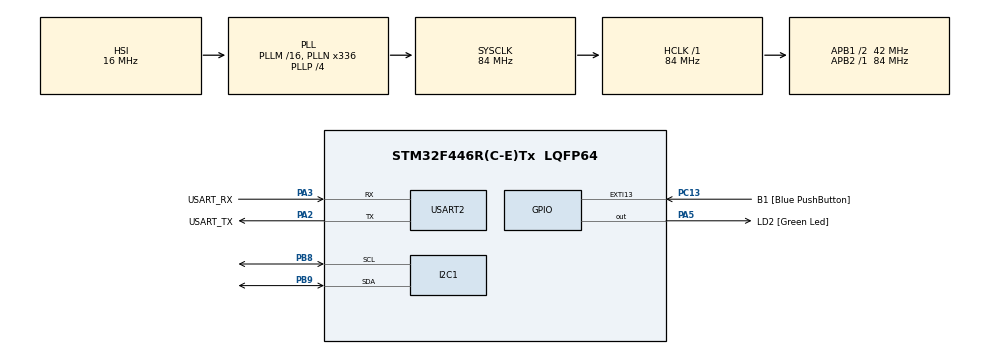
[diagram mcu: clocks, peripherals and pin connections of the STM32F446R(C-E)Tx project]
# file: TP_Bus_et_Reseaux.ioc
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Mcu.Family=STM32F4
Mcu.Name=STM32F446R(C-E)Tx
Mcu.Package=LQFP64
NVIC.PriorityGroup=NVIC_PRIORITYGROUP_0
PA13.GPIO_Label=TMS
PA13.Mode=Serial_Wire
PA13.Signal=SYS_JTMS-SWDIO
PA14.GPIO_Label=TCK
PA14.Mode=Serial_Wire
PA14.Signal=SYS_JTCK-SWCLK
PA2.GPIO_Label=USART_TX
PA2.Mode=Asynchronous
PA2.Signal=USART2_TX
PA3.GPIO_Label=USART_RX
PA3.Mode=Asynchronous
PA3.Signal=USART2_RX
PA5.GPIO_Label=LD2 [Green Led]
PA5.Signal=GPIO_Output
PB3.GPIO_Label=SWO
PB3.Signal=SYS_JTDO-SWO
PB8.Mode=I2C
PB8.Signal=I2C1_SCL
PB9.Mode=I2C
PB9.Signal=I2C1_SDA
PC13.GPIO_Label=B1 [Blue PushButton]
PC13.GPIO_ModeDefaultEXTI=GPIO_MODE_IT_FALLING
PC13.Signal=GPXTI13
PC14-OSC32_IN.Mode=LSE-External-Oscillator
PC14-OSC32_IN.Signal=RCC_OSC32_IN
PC15-OSC32_OUT.Mode=LSE-External-Oscillator
PC15-OSC32_OUT.Signal=RCC_OSC32_OUT
PH0-OSC_IN.Mode=HSE-External-Oscillator
PH0-OSC_IN.Signal=RCC_OSC_IN
PH1-OSC_OUT.Mode=HSE-External-Oscillator
PH1-OSC_OUT.Signal=RCC_OSC_OUT
ProjectManager.HeapSize=0x200
ProjectManager.StackSize=0x400
ProjectManager.TargetToolchain=STM32CubeIDE
RCC.48MHZClocksFreq_Value=84000000
RCC.AHBFreq_Value=84000000
RCC.APB1CLKDivider=RCC_HCLK_DIV2
RCC.APB1Freq_Value=42000000
RCC.APB1TimFreq_Value=84000000
RCC.APB2Freq_Value=84000000
RCC.APB2TimFreq_Value=84000000
RCC.CortexFreq_Value=84000000
RCC.FLatency-AdvancedSettings=FLASH_LATENCY_2
RCC.HCLKFreq_Value=84000000
RCC.HSE_VALUE=8000000
RCC.HSI_VALUE=16000000
RCC.PLLN=336
RCC.PLLP=RCC_PLLP_DIV4
RCC.SYSCLKFreq_VALUE=84000000
RCC.SYSCLKSource=RCC_SYSCLKSOURCE_PLLCLK
RCC.USBFreq_Value=168000000
RCC.VCOOutputFreq_Value=336000000
USART2.VirtualMode=VM_ASYNC
board=NUCLEO-F446RE

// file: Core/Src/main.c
/* USER CODE BEGIN Header */
/**
 ******************************************************************************
 * @file           : main.c
 * @brief          : Main program body
 ******************************************************************************
 * @attention
 *
 * Copyright (c) 2023 STMicroelectronics.
 * All rights reserved.
 *
 * This software is licensed under terms that can be found in the LICENSE file
 * in the root directory of this software component.
 * If no LICENSE file comes with this software, it is provided AS-IS.
 *
 ******************************************************************************
 */
/* USER CODE END Header */
#include "main.h"
#include "i2c.h"
#include "usart.h"
#include "gpio.h"
#include "stdlib.h"
#include <stdio.h>
#include <string.h>
/* USER CODE BEGIN Includes */
#define I2C_Address 0x77<<1
/* USER CODE END Includes */

void SystemClock_Config(void);

/* USER CODE BEGIN 0 */
char message[50];

uint8_t temp1[1];
uint8_t temp2[1];
uint8_t temp3[1];

uint8_t pression1[1];
uint8_t pression2[1];
uint8_t pression3[1];

uint8_t buffer_transmit[1]={0xD0};
uint8_t buffer_receive[1];

uint8_t mode_normal[2] = {0xF4,0x57}; //

uint8_t recup_temp2[1]={0xFA};
uint8_t recup_temp1[1]={0xFB};
uint8_t recup_temp3[1]={0xFC};

uint8_t recup_pression1[1]={0xF8};
uint8_t recup_pression2[1]={0xF7};
uint8_t recup_pression3[1]={0xF9};
/* USER CODE END 0 */

int main(void)
{
	/* USER CODE BEGIN 1 */
	//char message[50];
	HAL_StatusTypeDef test;
	HAL_StatusTypeDef test_pression;

	/* USER CODE END 1 */

	/* MCU Configuration--------------------------------------------------------*/

	/* Reset of all peripherals, Initializes the Flash interface and the Systick. */
	HAL_Init();

	/* Configure the system clock */
	SystemClock_Config();

	/* Initialize all configured peripherals */
	MX_GPIO_Init();
	MX_USART2_UART_Init();
	MX_I2C1_Init();
	/* USER CODE BEGIN 2 */
	test = HAL_I2C_Master_Transmit(&hi2c1, I2C_Address, buffer_transmit, sizeof(buffer_transmit), HAL_MAX_DELAY);

	HAL_I2C_Master_Receive( &hi2c1,  I2C_Address,  buffer_receive,  sizeof(buffer_receive), HAL_MAX_DELAY);

	while(test != HAL_OK){

		printf("Erreur de communication \r\n");
		HAL_Delay(1000);

	}

	printf("BMP280 connecte \r\n");
	printf("ID : %x\r\n",buffer_receive[0]);

	HAL_I2C_Master_Transmit(&hi2c1, I2C_Address, mode_normal, 2, HAL_MAX_DELAY);
	HAL_I2C_Master_Receive(&hi2c1, I2C_Address, buffer_receive, 1, HAL_MAX_DELAY);

	printf("le mode est : %x\r\n",buffer_receive[0]);
	printf("mode normal, Pressure oversampling x16, Temperature oversampling x2\r\n");

	/* USER CODE END 2 */

	/* Infinite loop */
	/* USER CODE BEGIN WHILE */
	while (1)
	{

		test_pression = HAL_I2C_Master_Transmit(&hi2c1, I2C_Address, recup_temp1, 1, HAL_MAX_DELAY);

		HAL_I2C_Master_Receive(&hi2c1, I2C_Address, temp1,1,HAL_MAX_DELAY);

		HAL_I2C_Master_Transmit(&hi2c1, I2C_Address, recup_temp2, 1, HAL_MAX_DELAY);

		HAL_I2C_Master_Receive(&hi2c1, I2C_Address, recup_pression1,1,HAL_MAX_DELAY);

		HAL_I2C_Master_Transmit(&hi2c1, I2C_Address, recup_temp2, 1, HAL_MAX_DELAY);

		HAL_I2C_Master_Receive(&hi2c1, I2C_Address, recup_pression2,1,HAL_MAX_DELAY);

		while(test_pression != HAL_OK)
		{
			printf("Aucune temperature\r\n");
			HAL_Delay(1000);
		}

		HAL_Delay(100);
		printf("La temperature est : %x %x %x\r\n",temp1,temp2, temp3);

		printf("La pression est : %x\r\n",pression1, pression2, pression3);
		/* USER CODE END WHILE */

	}
}

void SystemClock_Config(void)
{
	RCC_OscInitTypeDef RCC_OscInitStruct = {0};
	RCC_ClkInitTypeDef RCC_ClkInitStruct = {0};

	/** Configure the main internal regulator output voltage
	 */
	__HAL_RCC_PWR_CLK_ENABLE();
	__HAL_PWR_VOLTAGESCALING_CONFIG(PWR_REGULATOR_VOLTAGE_SCALE3);

	/** Initializes the RCC Oscillators according to the specified parameters
	 * in the RCC_OscInitTypeDef structure.
	 */
	RCC_OscInitStruct.OscillatorType = RCC_OSCILLATORTYPE_HSI;
	RCC_OscInitStruct.HSIState = RCC_HSI_ON;
	RCC_OscInitStruct.HSICalibrationValue = RCC_HSICALIBRATION_DEFAULT;
	RCC_OscInitStruct.PLL.PLLState = RCC_PLL_ON;
	RCC_OscInitStruct.PLL.PLLSource = RCC_PLLSOURCE_HSI;
	RCC_OscInitStruct.PLL.PLLM = 16;
	RCC_OscInitStruct.PLL.PLLN = 336;
	RCC_OscInitStruct.PLL.PLLP = RCC_PLLP_DIV4;
	RCC_OscInitStruct.PLL.PLLQ = 2;
	RCC_OscInitStruct.PLL.PLLR = 2;
	if (HAL_RCC_OscConfig(&RCC_OscInitStruct) != HAL_OK)
	{
		Error_Handler();
	}

	/** Initializes the CPU, AHB and APB buses clocks
	 */
	RCC_ClkInitStruct.ClockType = RCC_CLOCKTYPE_HCLK|RCC_CLOCKTYPE_SYSCLK
			|RCC_CLOCKTYPE_PCLK1|RCC_CLOCKTYPE_PCLK2;
	RCC_ClkInitStruct.SYSCLKSource = RCC_SYSCLKSOURCE_PLLCLK;
	RCC_ClkInitStruct.AHBCLKDivider = RCC_SYSCLK_DIV1;
	RCC_ClkInitStruct.APB1CLKDivider = RCC_HCLK_DIV2;
	RCC_ClkInitStruct.APB2CLKDivider = RCC_HCLK_DIV1;

	if (HAL_RCC_ClockConfig(&RCC_ClkInitStruct, FLASH_LATENCY_2) != HAL_OK)
	{
		Error_Handler();
	}
}

void Error_Handler(void)
{
	__disable_irq();
	while (1)
	{
	}
}
